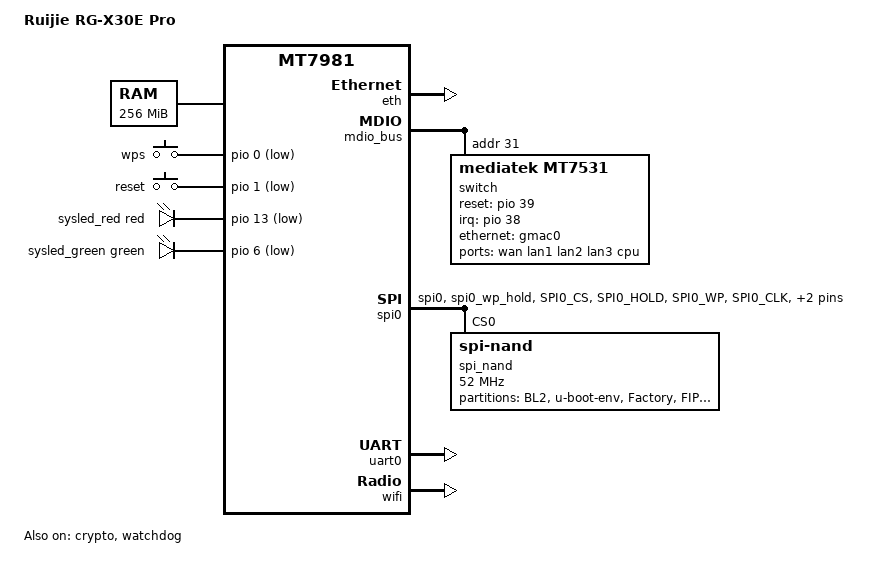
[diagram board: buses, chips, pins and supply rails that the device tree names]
// SPDX-License-Identifier: GPL-2.0-or-later OR MIT
/*
 * Ruijie RG-X30E Pro
 *
 * MT7981B + MT7976 (AX3000), 256 MiB DDR3, 128 MiB SPI-NAND
 */

/dts-v1/;

#include <dt-bindings/gpio/gpio.h>
#include <dt-bindings/input/input.h>
#include <dt-bindings/leds/common.h>
#include <dt-bindings/pinctrl/mt65xx.h>

#include "mt7981b.dtsi"

/ {
	model = "Ruijie RG-X30E Pro";
	compatible = "ruijie,rg-x30e-pro", "mediatek,mt7981";

	aliases {
		serial0 = &uart0;
		led-boot = &sysled_red;
		led-failsafe = &sysled_red;
		led-running = &sysled_green;
		led-upgrade = &sysled_red;
	};

	chosen {
		stdout-path = "serial0:115200n8";
	};

	memory@40000000 {
		device_type = "memory";
		reg = <0 0x40000000 0 0x10000000>;
	};

	gpio-keys {
		compatible = "gpio-keys";

		button-wps {
			label = "wps";
			linux,code = <KEY_WPS_BUTTON>;
			gpios = <&pio 0 GPIO_ACTIVE_LOW>;
			debounce-interval = <20>;
		};

		button-reset {
			label = "reset";
			linux,code = <KEY_RESTART>;
			gpios = <&pio 1 GPIO_ACTIVE_LOW>;
			debounce-interval = <20>;
		};
	};

	gpio-leds {
		compatible = "gpio-leds";

		sysled_red: led-status-red {
			color = <LED_COLOR_ID_RED>;
			function = LED_FUNCTION_STATUS;
			gpios = <&pio 13 GPIO_ACTIVE_LOW>;
		};

		sysled_green: led-status-green {
			color = <LED_COLOR_ID_GREEN>;
			function = LED_FUNCTION_STATUS;
			gpios = <&pio 6 GPIO_ACTIVE_LOW>;
		};
	};
};

&crypto {
	status = "okay";
};

&eth {
	status = "okay";

	gmac0: mac@0 {
		compatible = "mediatek,eth-mac";
		reg = <0>;
		phy-mode = "2500base-x";

		fixed-link {
			speed = <2500>;
			full-duplex;
			pause;
		};
	};
};

&mdio_bus {
	switch: switch@1f {
		compatible = "mediatek,mt7531";
		reg = <31>;
		reset-gpios = <&pio 39 GPIO_ACTIVE_HIGH>;
		interrupt-controller;
		#interrupt-cells = <1>;
		interrupt-parent = <&pio>;
		interrupts = <38 IRQ_TYPE_LEVEL_HIGH>;
	};
};

&switch {
	ports {
		#address-cells = <1>;
		#size-cells = <0>;

		port@0 {
			reg = <0>;
			label = "wan";
		};

		port@1 {
			reg = <1>;
			label = "lan1";
		};

		port@2 {
			reg = <2>;
			label = "lan2";
		};

		port@4 {
			reg = <4>;
			label = "lan3";
		};

		port@6 {
			reg = <6>;
			label = "cpu";
			ethernet = <&gmac0>;
			phy-mode = "2500base-x";

			fixed-link {
				speed = <2500>;
				full-duplex;
				pause;
			};
		};
	};
};

&spi0 {
	pinctrl-names = "default";
	pinctrl-0 = <&spi0_flash_pins>;
	status = "okay";

	spi_nand: flash@0 {
		compatible = "spi-nand";
		reg = <0>;

		spi-max-frequency = <52000000>;
		spi-tx-bus-width = <4>;
		spi-rx-bus-width = <4>;

		mediatek,nmbm;
		mediatek,bmt-max-ratio = <1>;
		mediatek,bmt-max-reserved-blocks = <64>;

		partitions {
			compatible = "fixed-partitions";
			#address-cells = <1>;
			#size-cells = <1>;

			partition@0 {
				label = "BL2";
				reg = <0x000000 0x100000>;
				read-only;
			};

			partition@100000 {
				label = "u-boot-env";
				reg = <0x100000 0x080000>;
				read-only;
			};

			partition@180000 {
				label = "Factory";
				reg = <0x180000 0x200000>;
				read-only;

				nvmem-layout {
					compatible = "fixed-layout";
					#address-cells = <1>;
					#size-cells = <1>;

					eeprom_factory_0: eeprom@0 {
						reg = <0x0 0x1000>;
					};
				};
			};

			partition@380000 {
				label = "FIP";
				reg = <0x380000 0x200000>;
				read-only;
			};

			partition@580000 {
				label = "FIP2";
				reg = <0x580000 0x200000>;
				read-only;
			};

			partition@780000 {
				label = "product_info";
				reg = <0x780000 0x080000>;
				read-only;
			};

			partition@800000 {
				label = "kdump";
				reg = <0x800000 0x080000>;
				read-only;
			};

			partition@880000 {
				label = "ubi";
				reg = <0x880000 0x6f80000>;
			};
		};
	};
};

&pio {
	spi0_flash_pins: spi0-pins {
		mux {
			function = "spi";
			groups = "spi0", "spi0_wp_hold";
		};

		conf-pu {
			pins = "SPI0_CS", "SPI0_HOLD", "SPI0_WP";
			drive-strength = <MTK_DRIVE_8mA>;
			bias-pull-up = <MTK_PUPD_SET_R1R0_11>;
		};

		conf-pd {
			pins = "SPI0_CLK", "SPI0_MOSI", "SPI0_MISO";
			drive-strength = <MTK_DRIVE_8mA>;
			bias-pull-down = <MTK_PUPD_SET_R1R0_11>;
		};
	};
};

&uart0 {
	status = "okay";
};

&watchdog {
	status = "okay";
};

&wifi {
	status = "okay";
	nvmem-cells = <&eeprom_factory_0>;
	nvmem-cell-names = "eeprom";
};
